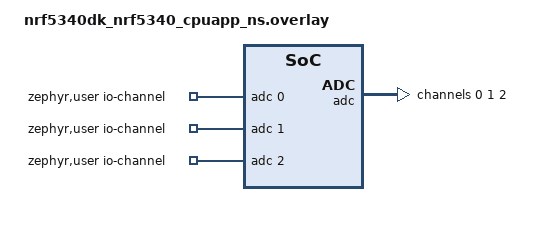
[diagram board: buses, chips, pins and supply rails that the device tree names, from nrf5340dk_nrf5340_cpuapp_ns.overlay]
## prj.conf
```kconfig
# Logger module
CONFIG_LOG=y

# Button and LED library   
CONFIG_DK_LIBRARY=y

# ADC library
CONFIG_ADC=y

# math.h, pow and sqrt functions
CONFIG_NEWLIB_LIBC=y

# float support
CONFIG_NEWLIB_LIBC=y
CONFIG_NEWLIB_LIBC_FLOAT_PRINTF=y
```

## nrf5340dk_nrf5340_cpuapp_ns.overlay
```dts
// To get started, press Ctrl+Space to bring up the completion menu and view the available nodes.

// You can also use the buttons in the sidebar to perform actions on nodes.
// Actions currently available include:

// * Enabling / disabling the node
// * Adding the bus to a bus
// * Removing the node
// * Connecting ADC channels

// For more help, browse the DeviceTree documentation at https://docs.zephyrproject.org/latest/guides/dts/index.html
// You can also visit the nRF DeviceTree extension documentation at https://nrfconnect.github.io/vscode-nrf-connect/devicetree/nrfdevicetree.html




/{
	zephyr,user {
		io-channels = <&adc 0>, <&adc 1>, <&adc 2>;
	};
};



&adc {
	status = "okay";
	#address-cells = <1>;
	#size-cells = <0>;

	channel@0 {
		reg = <0>;
		zephyr,gain = "ADC_GAIN_1_6";
		zephyr,reference = "ADC_REF_INTERNAL";
		zephyr,acquisition-time = <ADC_ACQ_TIME_DEFAULT>;
		zephyr,input-positive = <NRF_SAADC_AIN2>; // x = P0.06
		zephyr,resolution = <12>;
	};

	channel@1 {
		reg = <1>;
		zephyr,gain = "ADC_GAIN_1_6";
		zephyr,reference = "ADC_REF_INTERNAL";
		zephyr,acquisition-time = <ADC_ACQ_TIME_DEFAULT>;
		zephyr,input-positive = <NRF_SAADC_AIN0>; // y = P0.04
		zephyr,resolution = <12>;
		//zephyr,oversampling = <8>;
	};

	channel@2 {
		reg = <2>;
		zephyr,gain = "ADC_GAIN_1_6";
		zephyr,reference = "ADC_REF_INTERNAL";
		zephyr,acquisition-time = <ADC_ACQ_TIME_DEFAULT>;
		zephyr,input-positive = <NRF_SAADC_AIN1>; // z = P0.05
		zephyr,resolution = <12>;
		//zephyr,oversampling = <8>;
	};


};
```

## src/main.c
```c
/*
 * Copyright (c) 2020 Libre Solar Technologies GmbH
 *
 * SPDX-License-Identifier: Apache-2.0
 */
#include <zephyr/logging/log.h>
#include <dk_buttons_and_leds.h>
#include <inttypes.h>
#include <stddef.h>
#include <stdint.h>
#include <zephyr/kernel.h>
#include <zephyr/sys/printk.h>
#include <zephyr/sys/util.h>
#include "adc.h"
#include <zephyr/device.h>
#include <zephyr/devicetree.h>

#include "confusion.h"

#define USER_LED1         	 	DK_LED1
#define USER_LED2          		DK_LED2
#define USER_LED3               DK_LED3
#define USER_LED4               DK_LED4

#define USER_BUTTON_1           DK_BTN1_MSK
#define USER_BUTTON_2           DK_BTN2_MSK
#define USER_BUTTON_3           DK_BTN3_MSK
#define USER_BUTTON_4           DK_BTN4_MSK

#define DEBUG 0  // 0 = changes direction when button 3 is pressed
                 // 1 = fake 100 measurements done to each 6 directions when 3 pressed.
static int direction = -1;	// 0 = x direction high
							// 1 = x directon low	
							// 2 = y direction high
							// 3 = y direction low
							// 4 = z direction high
							// 5 = z direction low

LOG_MODULE_REGISTER(MAIN, LOG_LEVEL_INF);

static void button_changed(uint32_t button_state, uint32_t has_changed)
{
	//printk("button_state = %d\n",button_state);
	//printk("has_changed = %d\n",has_changed);
	if ((has_changed & USER_BUTTON_1) && (button_state & USER_BUTTON_1)) 
	{
		printk("Button 1 down, printing current Confusion Matrix\n");
		printConfusionMatrix();
	}

	if ((has_changed & USER_BUTTON_2) && (button_state & USER_BUTTON_2)) 
	{
		printk("Button 2 down, resetting confusion matrix\n");
		resetConfusionMatrix();
		printConfusionMatrix();
	}		
	
	if ((has_changed & USER_BUTTON_3) && (button_state & USER_BUTTON_3)) 
	{
		printk("Button 3 down, making fake 100 meas or one real meas depending on DEBUG state\n");
		#if DEBUG
		direction = 0;
		makeHundredFakeClassifications();
		printConfusionMatrix();
		#else
        direction = (direction + 1) % 6;
		switch (direction)
		{
		case 0:
			printk("Direction is now set x = high\n");
			break;
		case 1:
			printk("Direction is now set x = low\n");
			break;
		case 2:
			printk("Direction is now set y = high\n");
			break;
		case 3:
			printk("Direction is now set y = low\n");
			break;
		case 4:
			printk("Direction is now set z = high\n");
			break;
		case 5:
			printk("Direction is now set z = low\n");
			break;
		
		default:
		    printk("Wrong direction set!!!\n");
			break;
		}


		// test_function();
		// // call for calculationfunction 100 times, now we measure one time:
		// struct Measurement m = readADCValue();
		// printk("x = %d,  y = %d,  z = %d\n",m.x,m.y,m.z);
		
		// calculateDistanceToAllCentrePointsAndSelectWinner(m.x,m.y,m.z)
		#endif
	}		

	if ((has_changed & USER_BUTTON_4) && (button_state & USER_BUTTON_4)) 
	{
		printk("button 4 down, one meas and classification with current direction =%d\n",direction);
		makeOneClassificationAndUpdateConfusionMatrix(direction);
		printConfusionMatrix();
	}		
}


void main(void)
{
	int err;
	err = dk_leds_init();
	if (err) {
		LOG_ERR("LEDs init failed (err %d)\n", err);
		return;
	}

	err = dk_buttons_init(button_changed);
	if (err) {
		printk("Cannot init buttons (err: %d)\n", err);
		return;
	}
	
	
	if(initializeADC() != 0){
	printk("ADC initialization failed!");
	return;
	}

	while (1) 
	{
		//struct Measurement m = readADCValue();
		//printk("x = %d,  y = %d,  z = %d\n",m.x,m.y,m.z);
		
		k_sleep(K_MSEC(1000));
		
		dk_set_led_on(USER_LED1);
		dk_set_led_on(USER_LED2);
		dk_set_led_on(USER_LED3);
		dk_set_led_on(USER_LED4);
		 
		k_sleep(K_MSEC(1000));
		
		dk_set_led_off(USER_LED1);
		dk_set_led_off(USER_LED2);
		dk_set_led_off(USER_LED3);
		dk_set_led_off(USER_LED4);


	}
}
```

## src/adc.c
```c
#include <zephyr/device.h>
#include <zephyr/devicetree.h>
#include <zephyr/drivers/adc.h>
#include <hal/nrf_saadc.h>
#include <zephyr/kernel.h>
#include <zephyr/sys/printk.h>
#include <zephyr/sys/util.h>
#include <zephyr/sys/printk.h>
#include "adc.h"

#if !DT_NODE_EXISTS(DT_PATH(zephyr_user)) || \
	!DT_NODE_HAS_PROP(DT_PATH(zephyr_user), io_channels)
#error "No suitable devicetree overlay specified"
#endif

#define DT_SPEC_AND_COMMA(node_id, prop, idx) \
	ADC_DT_SPEC_GET_BY_IDX(node_id, idx),

static const struct adc_dt_spec adc_channels[] = {
	DT_FOREACH_PROP_ELEM(DT_PATH(zephyr_user), io_channels,
			     DT_SPEC_AND_COMMA)
};


void printDebugInfo(void)
{
   printk("printing first adc_dt_spec structure contents for all channels\n");
   for(int i = 0;i<3;i++)
   {
   printk("adc_dt_spec structure, channel %d = \n",i);
   printk("Device pointer = %p\n",adc_channels[1].dev);
   printk("Channel Id = %d\n",adc_channels[i].channel_id);
   printk("Voltage reference = %d\n",adc_channels[i].vref_mv);
   printk("Resolution = %d\n",adc_channels[i].resolution);
   printk("Oversampling = %d\n",adc_channels[i].oversampling);
   printk("\n\n");
   }
}

int initializeADC(void)
{
    int err;
	
	for (size_t i = 0U; i < ARRAY_SIZE(adc_channels); i++) {
		if (!device_is_ready(adc_channels[i].dev)) {
			printk("ADC controller device not ready\n");
			return -1;
		}

		err = adc_channel_setup_dt(&adc_channels[i]);
		if (err < 0) {
			printk("Could not setup channel #%d (%d)\n", i, err);
			return -1;
		}
	}
    return 0;
}

struct Measurement readADCValue(void)
{
	int16_t buf;
    struct Measurement m;
    struct adc_sequence sequence = {
	  .buffer = &buf,

	  .buffer_size = sizeof(buf),
    };

    //printk("ADC reading:\n");
	for (size_t i = 0U; i < ARRAY_SIZE(adc_channels); i++) 
    {
		int err;
        int32_t val_mv;
        // For debug use... 
		/*
        printk("- %s, channel %d: ",
		       adc_channels[i].dev->name,
		       adc_channels[i].channel_id);
        */

		(void)adc_sequence_init_dt(&adc_channels[i], &sequence);

		err = adc_read(adc_channels[i].dev, &sequence);
		if (err < 0) {
			printk("Could not read (%d)\n", err);
			continue;
		} else {
            if(i==0)
            {
                m.x = val_mv;
            }
            else if (i==1)
            {
               m.y = val_mv;
            }
            else if (i==2)
            {
                m.z = val_mv;
            }           
			//printk("%"PRId16, buf);
		}

		
		val_mv = buf;
		err = adc_raw_to_millivolts_dt(&adc_channels[i],&val_mv);
		if (err < 0) 
        {
			printk(" (value in mV not available)\n");
		} 
        else 
        {
			if(i==0)
            {
                m.x = val_mv;
            }
            else if (i==1)
            {
               m.y = val_mv;
            }
            else if (i==2)
            {
                m.z = val_mv;
            }           
            //printk(" = %"PRId32" mV\n", val_mv);
		}
	}
    return m;
}
```

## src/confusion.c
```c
#include <zephyr/kernel.h>
#include <math.h>
#include "confusion.h"
#include "adc.h"
#include "centroid_data.h"
#include <stdio.h>


/* 
  K-means algorithm should provide 6 center points with
  3 values x,y,z. Let's test measurement system with known
  center points. I.e. x,y,z are supposed to have only values
  1 = down and 2 = up
  
  CenterPoint matrix is thus the 6 center points got from K-means algoritm
  teaching process. This should actually come from include file like
  #include "KmeansCenterPoints.h"
  
  And measurements matrix is just fake matrix for testing purpose
  actual measurements are taken from ADC when accelerator is connected.
*/ 

// int CP[6][3]={
// 	                     {1,0,0},
// 						 {2,0,0},
// 						 {0,1,0},
// 						 {0,2,0},
// 						 {0,0,1},
// 						 {0,0,2}
// };

// int measurements[6][3]={
// 	                     {1,0,0},
// 						 {2,0,0},
// 						 {0,1,0},
// 						 {0,2,0},
// 						 {0,0,1},
// 						 {0,0,2}
// };

int CM[6][6]= {0}; // CM[rows][columns], joten CM[direction][winner]

// void test_function(void) {
//    // printing centroid points START 
//    // for (int i = 0; i < 6; i++) {
//    //      for (int j = 0; j < 3; j++) {
//    //          printf("%d ", centroid_coords[i][j]);
//    //      }
//    //      printf("\n");
//    // }
//    // printing centroid points END
//    printf("Now at test_function.\n");
//    printf("Calculated:",calculateDistanceToAllCentrePointsAndSelectWinner(1807, 1497, 1535));
// }

// Button 1 down, printing current Confusion Matrix
void printConfusionMatrix(void)
{
	printf("Confusion matrix = \n");
	printf("   cp1 cp2 cp3 cp4 cp5 cp6\n");
	for(int i = 0;i<6;i++)
	{
		printf("cp%d %d   %d   %d   %d   %d   %d\n",i+1,CM[i][0],CM[i][1],CM[i][2],CM[i][3],CM[i][4],CM[i][5]);
	}
}

// Button 3 down, making fake 100 meas or one real meas depending on DEBUG state // Pointless(maybe?!?)
void makeHundredFakeClassifications(void)
{
   /*
   Jos ja toivottavasti kun teet toteutuksen paloissa eli varmistat ensin,
   että etäisyyden laskenta 6 keskipisteeseen toimii ja osaat valita 6 etäisyydestä
   voittajaksi sen lyhyimmän etäisyyden, niin silloin voit käyttää tätä aliohjelmaa
   varmistaaksesi, että etäisuuden laskenta ja luokittelu toimii varmasti tunnetulla
   itse keksimälläsi sensoridatalla ja itse keksimilläsi keskipisteillä.*/
   // printk("Make your own implementation for this function if you need this\n");
}

// button 4 down, one meas and classification with current direction =0 // Pointless(maybe?!?)
void makeOneClassificationAndUpdateConfusionMatrix(int direction)
{
   /*
   Tee toteutus tälle ja voit tietysti muuttaa tämän aliohjelman sellaiseksi,
   että se tekee esim 100 kpl mittauksia tai sitten niin, että tätä funktiota
   kutsutaan 100 kertaa yhden mittauksen ja sen luokittelun tekemiseksi.*/

   // call for calculationfunction 100 times
   int i = 0;
   while (i<100) {
      struct Measurement m = readADCValue();
      int winner = calculateDistanceToAllCentrePointsAndSelectWinner(m.x,m.y,m.z);
      printf("x = %d,  y = %d,  z = %d\n",m.x,m.y,m.z);
      i++;
      CM[direction][winner] += 1;
   }
   
   // UNCOMMENT THESE TO MEASURE ONE TIME (+COMMENT UPPER WHILE-LOOP)
   // struct Measurement m = readADCValue();
   // int winner = calculateDistanceToAllCentrePointsAndSelectWinner(m.x,m.y,m.z);
   // CM[direction][winner] += 1;
}

int calculateDistanceToAllCentrePointsAndSelectWinner(int x,int y,int z)
{
   /*
   Tämän aliohjelma ottaa yhden kiihtyvyysanturin mittauksen x,y,z,
   laskee etäisyyden kaikkiin 6 K-means keskipisteisiin ja valitsee
   sen keskipisteen, jonka etäisyys mittaustulokseen on lyhyin.*/
   
   float distance_list[6] = {0}; // list for calculated distances. Order = high_x, low_x, high_y, low_y, high_z, low_z

   // käydään joka piste centroid_coords[row][col] keskipistelistasta läpi
   for (int row = 0; row < 6; row++) {

      float distance = sqrtf(
         (x - centroid_coords[row][0]) * (x - centroid_coords[row][0]) + 
         (y - centroid_coords[row][1]) * (y - centroid_coords[row][1]) + 
         (z - centroid_coords[row][2]) * (z - centroid_coords[row][2])
      );

      // lisätään laskettu arvo "distance_list" listaan indeksiin row
      distance_list[row] = distance;
   }
   // printf("distance_list: ");
   // for (int idx = 0; idx < 6; idx++) {
   //    printf("%f ",distance_list[idx]);
   // }
   // printf("\n");

   int length = sizeof(distance_list) / sizeof(distance_list[0]); // listan pituus
   float min_val = distance_list[0]; // oletetaan, että 1. arvo on pienin (päivitetään loopissa)
   int min_val_index = 0; // indeksi, missä pienin arvo on
   
   // selataan distance_list lista, tarkistetaan listan pienin arvo ja missä indeksissä se on
   for (int val = 0; val < length; val++) {
      if (distance_list[val] < min_val) {
         min_val = distance_list[val];
      }
   }
   
   // päivitetään listaindeksi pienimmän arvon mukaan
   for (int idx = 0; idx < length; idx++){
      if (distance_list[idx] == min_val){
         min_val_index = idx;
      }
   }

   //printf("Smallest value %f and index %d.\n",min_val, min_val_index);
   return min_val_index; // 0
}

// Button 2 down, resetting confusion matrix
void resetConfusionMatrix(void)
{
	for(int i = 0; i < 6; i++)
	{ 
		for(int j = 0;j<6;j++)
		{
			CM[i][j] = 0;
		}
	}
}
```

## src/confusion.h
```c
#ifndef CONFUSION_MATRIX_H
#define CONFUSION_MATRIX_H


void printConfusionMatrix(void);
void makeHundredFakeClassifications(void);
void makeOneClassificationAndUpdateConfusionMatrix(int);
int calculateDistanceToAllCentrePointsAndSelectWinner(int,int,int);
void resetConfusionMatrix(void);
void test_function(void);


#endif
```
